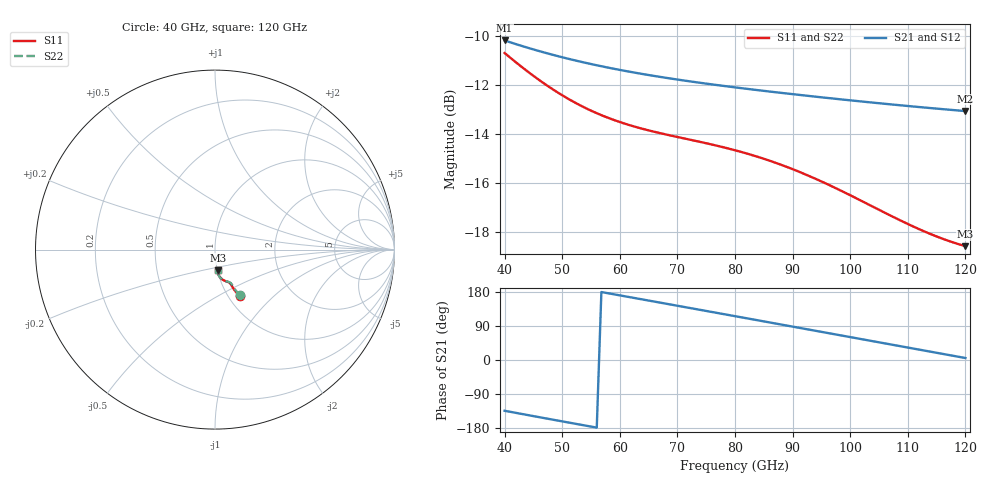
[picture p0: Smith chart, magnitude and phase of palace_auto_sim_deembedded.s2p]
! Created with skrf 1.11.0 (http://scikit-rf.org).
# GHz S DB R 50.0
!freq dBS11 angS11 dBS21 angS21 dBS12 angS12 dBS22 angS22
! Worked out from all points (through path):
!   101 points, 40 GHz to 120 GHz, reference 50 ohm
!   highest |S21| = -10.18 dB at 40 GHz (marker M1); lowest = -13.1 dB at 120 GHz (marker M2)
!   group delay of S21, straight-line fit = 7.65 ps
!   lowest |S11| = -18.6 dB at 120 GHz (marker M3), VSWR 1.27, Z = 50.5 - j11.9 ohm
!   |S11| at or under -10 dB: start of sweep to end of sweep
!   |S22| runs from -18.8 to -10.7 dB; largest |S21 - S12| = 3.2e-13
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40  -10.70 -61.8  -10.18 -133.9  -10.18 -133.9  -10.73 -61.0
43.2  -11.31 -63.2  -10.42 -143.0  -10.42 -143.0  -11.33 -62.3
46.4  -11.87 -64.1  -10.64 -152.0  -10.64 -152.0  -11.89 -63.2
49.6  -12.37 -64.6  -10.85 -160.8  -10.85 -160.8  -12.38 -63.7
53.6  -12.89 -65.0  -11.07 -171.9  -11.07 -171.9  -12.89 -64.0
56.8  -13.24 -65.2  -11.24 179.3  -11.24 179.3  -13.22 -64.2
60  -13.52 -65.5  -11.39 170.6  -11.39 170.6  -13.49 -64.4
63.2  -13.75 -65.9  -11.52 161.8  -11.52 161.8  -13.71 -64.9
67.2  -13.98 -66.7  -11.68 150.9  -11.68 150.9  -13.94 -65.7
73.6  -14.31 -68.7  -11.90 133.3  -11.90 133.3  -14.26 -68.0
76.8  -14.48 -70.1  -12.00 124.5  -12.00 124.5  -14.43 -69.4
80  -14.67 -71.6  -12.10 115.7  -12.10 115.7  -14.62 -71.1
83.2  -14.89 -73.2  -12.19 106.9  -12.19 106.9  -14.84 -72.8
86.4  -15.13 -74.9  -12.28 98.0  -12.28 98.0  -15.09 -74.6
89.6  -15.41 -76.5  -12.37 89.2  -12.37 89.2  -15.38 -76.3
93.6  -15.80 -78.4  -12.47 78.2  -12.47 78.2  -15.78 -78.4
96.8  -16.14 -79.8  -12.55 69.3  -12.55 69.3  -16.14 -79.9
100  -16.51 -80.9  -12.63 60.5  -12.63 60.5  -16.52 -81.1
107.2  -17.37 -82.2  -12.80 40.6  -12.80 40.6  -17.43 -82.8
113.6  -18.06 -82.1  -12.94 22.9  -12.94 22.9  -18.19 -83.0
116.8  -18.35 -81.6  -13.01 14.1  -13.01 14.1  -18.52 -82.6
120  -18.59 -81.0  -13.07 5.3  -13.07 5.3  -18.80 -82.1
